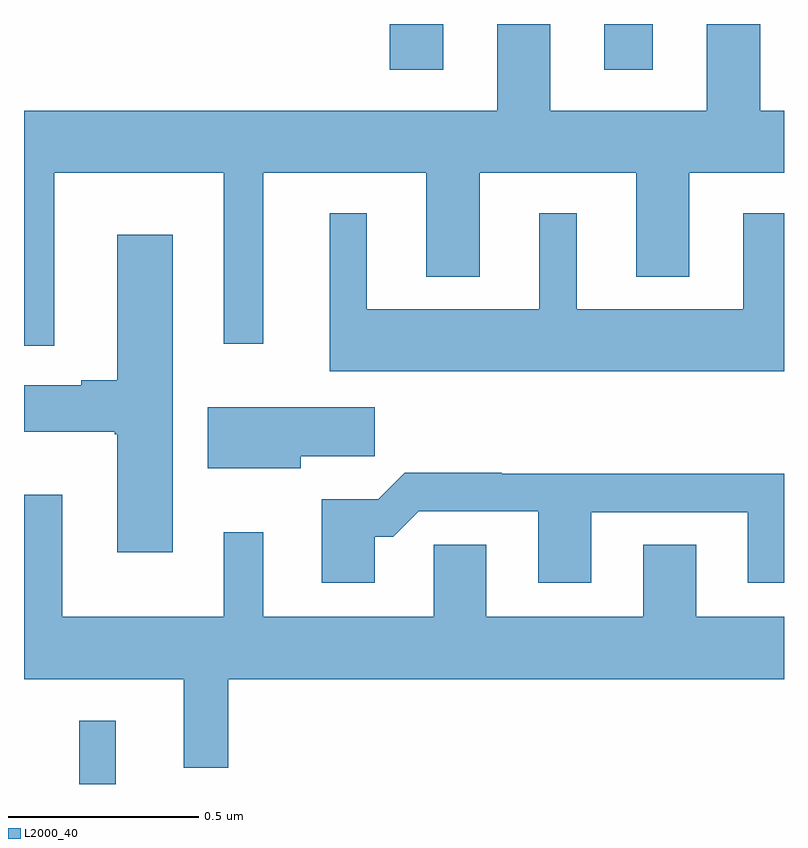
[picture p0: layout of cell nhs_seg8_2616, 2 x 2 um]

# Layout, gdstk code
import gdstk
lib = gdstk.Library(unit=1e-6, precision=1e-09)
def R(c, l, rs):  # rectangles x0, y0, x1, y1
    for r in rs: c.add(gdstk.rectangle(r[:2], r[2:], *l))
def P(c, l, *ps):  # polygons
    for p in ps: c.add(gdstk.Polygon(p, *l))
L2000_40 = (2000, 40)

nhs_seg8_2616 = lib.new_cell('nhs_seg8_2616')
R(nhs_seg8_2616, L2000_40, [(146.145,1106.9,146.242,1107.067), (146.963,1108.779,147.103,1108.9), (147.527,1108.779,147.655,1108.9)])
P(nhs_seg8_2616, L2000_40, [(146.08,1108.508),(146.525,1108.508),(146.525,1108.059),(146.629,1108.059),(146.629,1108.508),(147.059,1108.508),(147.059,1108.235),(147.199,1108.235),(147.199,1108.508),(147.611,1108.508),(147.611,1108.235),(147.751,1108.235),(147.751,1108.508),(148,1108.508),(148,1108.672),(147.937,1108.672),(147.937,1108.9),(147.797,1108.9),(147.797,1108.672),(147.385,1108.672),(147.385,1108.9),(147.245,1108.9),(147.245,1108.672),(146,1108.672),(146,1108.053),(146.08,1108.053)],
  [(148,1108.402),(147.893,1108.402),(147.893,1108.15),(147.454,1108.15),(147.454,1108.402),(147.356,1108.402),(147.356,1108.15),(146.902,1108.15),(146.902,1108.402),(146.804,1108.402),(146.804,1107.986),(148,1107.986)],
  [(146.392,1108.345),(146.246,1108.345),(146.246,1107.962),(146.15,1107.962),(146.15,1107.949),(146,1107.949),(146,1107.827),(146.239,1107.827),(146.239,1107.82),(146.246,1107.82),(146.246,1107.51),(146.392,1107.51)],
  [(146.728,1107.763),(146.923,1107.763),(146.923,1107.892),(146.484,1107.892),(146.484,1107.731),(146.728,1107.731)],
  [(146.923,1107.551),(146.972,1107.551),(147.039,1107.618),(147.353,1107.618),(147.353,1107.429),(147.493,1107.429),(147.493,1107.615),(147.905,1107.615),(147.905,1107.429),(148,1107.429),(148,1107.716),(147.257,1107.716),(147.257,1107.719),(147.002,1107.719),(146.932,1107.649),(146.783,1107.649),(146.783,1107.429),(146.923,1107.429)],
  [(146.537,1107.176),(148,1107.176),(148,1107.34),(147.769,1107.34),(147.769,1107.53),(147.629,1107.53),(147.629,1107.34),(147.217,1107.34),(147.217,1107.53),(147.078,1107.53),(147.078,1107.34),(146.629,1107.34),(146.629,1107.562),(146.525,1107.562),(146.525,1107.34),(146.101,1107.34),(146.101,1107.661),(146,1107.661),(146,1107.176),(146.42,1107.176),(146.42,1106.943),(146.537,1106.943)])

lib.write_gds('nhs_seg8_2616.gds')
